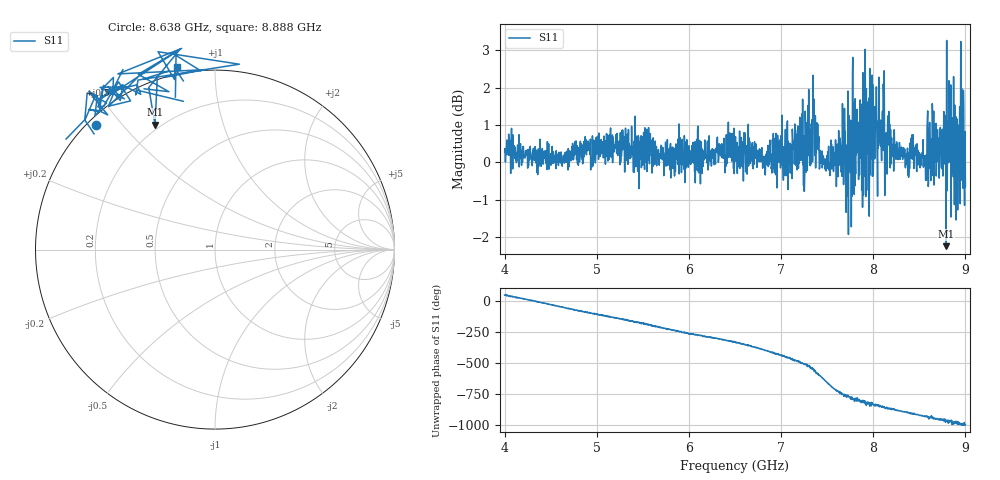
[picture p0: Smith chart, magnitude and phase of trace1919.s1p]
! Created with skrf 1.8.0 (http://scikit-rf.org).
# Hz S RI R 50.0
!freq ReS11 ImS11
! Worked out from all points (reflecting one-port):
!   1601 points, 4 GHz to 9 GHz, reference 50 ohm
!   lowest |S11| = -2.2 dB at 8.791 GHz (marker M1), VSWR 7.79, Z = 8.9 + j30.7 ohm
!   phase of S11 starts at 50 deg and turns -1047 deg over the sweep
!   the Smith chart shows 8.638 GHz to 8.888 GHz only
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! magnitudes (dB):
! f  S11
! 4 GHz  0.3
! 4.625 GHz  -0.1
! 5.25 GHz  0.1
! 5.875 GHz  0.2
! 6.5 GHz  0.1
! 6.825 GHz  0.2
! 7.125 GHz  0.7
! 7.209 GHz  0.9
! 7.262 GHz  1.4
! 7.284 GHz  -0.2
! 7.372 GHz  1.2
! 7.462 GHz  0.0
! 7.672 GHz  1.0
! 7.728 GHz  -0.1
! 7.75 GHz  0.7
! 7.844 GHz  0.6
! 7.875 GHz  -0.7
! 7.928 GHz  0.6
! 7.959 GHz  -0.3
! 8.012 GHz  1.3
! 8.066 GHz  0.7
! 8.097 GHz  0.3
! 8.2 GHz  0.7
! 8.375 GHz  0.1
! 8.791 GHz  -2.2
! 8.919 GHz  -0.3
! 8.959 GHz  2.0
! 9 GHz  -0.7
